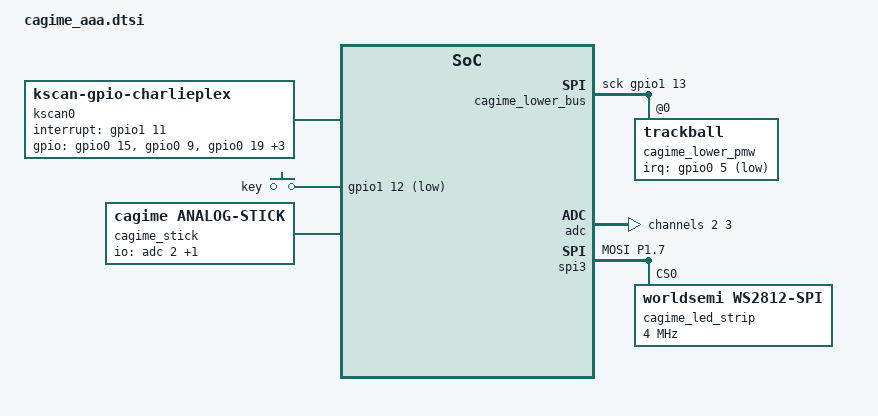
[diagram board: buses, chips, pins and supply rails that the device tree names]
#include <dt-bindings/led/led.h>
#include <zephyr/dt-bindings/input/input-event-codes.h>
#include <input/processors.dtsi>
#include <dt-bindings/zmk/input_transform.h>
#include <zephyr/dt-bindings/adc/nrf-saadc.h>
#define CGM_HAS_INNER_KEYS
#include "../CaGiMe/CGM-layout.dtsi"

/ {
    chosen {
        zmk,physical-layout = &layout_MKB;
        /delete-property/ zmk,battery;
    };

    kscan0: kscan0 {
        compatible = "zmk,kscan-gpio-charlieplex";
        wakeup-source;
        interrupt-gpios = <&gpio1 11 GPIO_ACTIVE_HIGH>;
        /* U103 pads 15, 18, 16, 19, 17, 4 in PCB IO_0..IO_5 order. */
        gpios = <&gpio0 15 GPIO_ACTIVE_HIGH>,
                <&gpio0 9 GPIO_ACTIVE_HIGH>,
                <&gpio0 19 GPIO_ACTIVE_HIGH>,
                <&gpio0 10 GPIO_ACTIVE_HIGH>,
                <&gpio1 1 GPIO_ACTIVE_HIGH>,
                <&gpio0 29 GPIO_ACTIVE_HIGH>;
    };

    /* Deferred encoders report through the module driver using these stable ZMK sensor indexes. */
    left_encoder: left_encoder {
        compatible = "alps,ec11";
        status = "disabled";
    };

    right_encoder: right_encoder {
        compatible = "alps,ec11";
        status = "disabled";
    };

    left_inner_encoder: left_inner_encoder { status = "disabled"; };
    right_inner_encoder: right_inner_encoder { status = "disabled"; };

    sensors {
        compatible = "zmk,keymap-sensors";
        sensors = <&left_encoder &right_encoder &left_inner_encoder &right_inner_encoder>;
        triggers-per-rotation = <20>;
    };

    behaviors {
        cagime_led_test: cagime_led_test {
            compatible = "cagime,behavior-led-test";
            #binding-cells = <1>;
            strip = <&cagime_led_strip>;
            max-channel-value = <4>;
        };
    };
};

&layout_MKB {
    display-name = "CaGiMe";
};

&default_transform {
    /* Row 6 is reserved for the two optional FPC direct-key positions. */
    rows = <7>;
};

/* IO_1 and IO_3 share the NFC pins. */
&uicr { nfct-pins-as-gpios; };

&vbatt { status = "disabled"; };
/* Lower FPC pins 4 (X) and 3 (Y). This does not enable battery sensing. */
&adc {
    #address-cells = <1>;
    #size-cells = <0>;
    status = "okay";
    zephyr,deferred-init;

    channel@2 {
        reg = <2>;
        zephyr,input-positive = <NRF_SAADC_AIN2>;
        zephyr,gain = "ADC_GAIN_1_6";
        zephyr,reference = "ADC_REF_INTERNAL";
        zephyr,acquisition-time = <0>;
        zephyr,resolution = <12>;
    };

    channel@3 {
        reg = <3>;
        zephyr,input-positive = <NRF_SAADC_AIN3>;
        zephyr,gain = "ADC_GAIN_1_6";
        zephyr,reference = "ADC_REF_INTERNAL";
        zephyr,acquisition-time = <0>;
        zephyr,resolution = <12>;
    };
};
&i2c1 { status = "disabled"; };
&spi2 { status = "disabled"; };
&pwm0 { status = "disabled"; };

&pinctrl {
    cagime_led_default: cagime_led_default {
        group1 {
            psels = <NRF_PSEL(SPIM_MOSI, 1, 7)>;
        };
    };

    cagime_led_sleep: cagime_led_sleep {
        group1 {
            psels = <NRF_PSEL(SPIM_MOSI, 1, 7)>;
            low-power-enable;
            bias-pull-down;
        };
    };
};

&spi3 {
    status = "okay";
    pinctrl-0 = <&cagime_led_default>;
    pinctrl-1 = <&cagime_led_sleep>;
    pinctrl-names = "default", "sleep";

    cagime_led_strip: sk6812@0 {
        compatible = "worldsemi,ws2812-spi";
        reg = <0>;
        chain-length = <4>;
        color-mapping = <LED_COLOR_ID_GREEN LED_COLOR_ID_RED LED_COLOR_ID_BLUE>;
        /* 2 us symbol at 4 MHz, with 0.25/0.75 us high for 0/1. */
        spi-max-frequency = <4000000>;
        spi-zero-frame = <0x80>;
        spi-one-frame = <0xe0>;
        reset-delay = <100>;
    };
};

/ {
    cagime_lower_bus: fpc-lower-spi {
        #address-cells = <1>;
        #size-cells = <0>;
        #include "cagime_pmw3610_bus.dtsi"
        /* J4/J7 pads 1, 2 and 4. */
        cs-gpios = <&gpio1 12 GPIO_ACTIVE_LOW>;
        sck-gpios = <&gpio1 13 GPIO_ACTIVE_HIGH>;
        sdio-gpios = <&gpio0 4 GPIO_ACTIVE_HIGH>;

        cagime_lower_pmw: trackball@0 {
            #include "cagime_pmw3610.dtsi"
            irq-gpios = <&gpio0 5 (GPIO_ACTIVE_LOW | GPIO_PULL_UP)>;
        };
    };

    cagime_lower_encoder: lower-encoder {
        a-gpios = <&gpio1 12 (GPIO_ACTIVE_HIGH | GPIO_PULL_UP)>;
        b-gpios = <&gpio1 13 (GPIO_ACTIVE_HIGH | GPIO_PULL_UP)>;
        #include "cagime_encoder.dtsi"
    };

    cagime_lower_key: lower-key {
        compatible = "gpio-keys";
        zephyr,deferred-init;
        debounce-interval-ms = <7>;

        key {
            gpios = <&gpio1 12 (GPIO_ACTIVE_LOW | GPIO_PULL_UP)>;
            zephyr,code = <INPUT_KEY_1>;
        };
    };

    cagime_stick: lower-stick {
        compatible = "cagime,analog-stick";
        io-channels = <&adc 2>, <&adc 3>;
    };

    split_inputs {
        #address-cells = <1>;
        #size-cells = <0>;

        cagime_right_lower_input: trackball@0 {
            compatible = "zmk,input-split";
            reg = <0>;
        };

        cagime_right_inner_input: trackball@1 {
            compatible = "zmk,input-split";
            reg = <1>;
        };

        cagime_right_lpps_input: lpps@2 {
            compatible = "zmk,input-split";
            reg = <2>;
        };

        cagime_right_stick_input: stick@3 {
            compatible = "zmk,input-split";
            reg = <3>;
        };
    };
};
